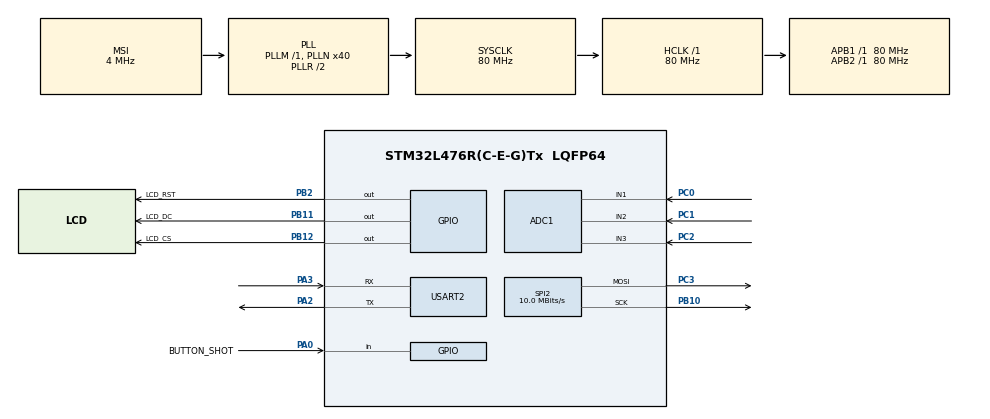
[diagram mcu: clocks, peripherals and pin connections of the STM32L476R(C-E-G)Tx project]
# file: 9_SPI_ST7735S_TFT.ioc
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ADC1.Channel-0\#ChannelRegularConversion=ADC_CHANNEL_1
ADC1.Channel-1\#ChannelRegularConversion=ADC_CHANNEL_2
ADC1.Channel-2\#ChannelRegularConversion=ADC_CHANNEL_3
ADC1.ContinuousConvMode=ENABLE
ADC1.DMAContinuousRequests=ENABLE
ADC1.NbrOfConversion=3
ADC1.NbrOfConversionFlag=1
ADC1.OffsetNumber-0\#ChannelRegularConversion=ADC_OFFSET_NONE
ADC1.OffsetNumber-1\#ChannelRegularConversion=ADC_OFFSET_NONE
ADC1.OffsetNumber-2\#ChannelRegularConversion=ADC_OFFSET_NONE
ADC1.Overrun=ADC_OVR_DATA_OVERWRITTEN
ADC1.OversamplingMode=ENABLE
ADC1.Rank-0\#ChannelRegularConversion=1
ADC1.Rank-1\#ChannelRegularConversion=2
ADC1.Rank-2\#ChannelRegularConversion=3
ADC1.Ratio=ADC_OVERSAMPLING_RATIO_16
ADC1.RightBitShift=ADC_RIGHTBITSHIFT_4
ADC1.SamplingTime-0\#ChannelRegularConversion=ADC_SAMPLETIME_640CYCLES_5
ADC1.SamplingTime-1\#ChannelRegularConversion=ADC_SAMPLETIME_640CYCLES_5
ADC1.SamplingTime-2\#ChannelRegularConversion=ADC_SAMPLETIME_640CYCLES_5
ADC1.master=1
Dma.ADC1.0.Direction=DMA_PERIPH_TO_MEMORY
Dma.ADC1.0.Instance=DMA1_Channel1
Dma.ADC1.0.MemDataAlignment=DMA_MDATAALIGN_HALFWORD
Dma.ADC1.0.MemInc=DMA_MINC_ENABLE
Dma.ADC1.0.Mode=DMA_CIRCULAR
Dma.ADC1.0.PeriphDataAlignment=DMA_PDATAALIGN_HALFWORD
Dma.ADC1.0.PeriphInc=DMA_PINC_DISABLE
Dma.ADC1.0.Priority=DMA_PRIORITY_LOW
Dma.Request0=ADC1
Mcu.Family=STM32L4
Mcu.Name=STM32L476R(C-E-G)Tx
Mcu.Package=LQFP64
NVIC.DMA1_Channel1_IRQn=true\:2\:0\:true\:false\:true\:false\:true\:true
NVIC.PriorityGroup=NVIC_PRIORITYGROUP_4
PA0.GPIO_Label=BUTTON_SHOT
PA0.GPIO_PuPd=GPIO_PULLUP
PA0.Signal=GPIO_Input
PA13\ (JTMS-SWDIO).Mode=Serial_Wire
PA13\ (JTMS-SWDIO).Signal=SYS_JTMS-SWDIO
PA14\ (JTCK-SWCLK).Mode=Serial_Wire
PA14\ (JTCK-SWCLK).Signal=SYS_JTCK-SWCLK
PA2.Mode=Asynchronous
PA2.Signal=USART2_TX
PA3.Mode=Asynchronous
PA3.Signal=USART2_RX
PB10.Mode=TX_Only_Simplex_Unidirect_Master
PB10.Signal=SPI2_SCK
PB11.GPIO_Label=LCD_DC
PB11.Signal=GPIO_Output
PB12.GPIO_Label=LCD_CS
PB12.PinState=GPIO_PIN_SET
PB12.Signal=GPIO_Output
PB2.GPIO_Label=LCD_RST
PB2.Signal=GPIO_Output
PC0.Signal=ADCx_IN1
PC1.Signal=ADCx_IN2
PC14-OSC32_IN\ (PC14).Mode=LSE-External-Oscillator
PC14-OSC32_IN\ (PC14).Signal=RCC_OSC32_IN
PC15-OSC32_OUT\ (PC15).Mode=LSE-External-Oscillator
PC15-OSC32_OUT\ (PC15).Signal=RCC_OSC32_OUT
PC2.Signal=ADCx_IN3
PC3.Mode=TX_Only_Simplex_Unidirect_Master
PC3.Signal=SPI2_MOSI
ProjectManager.HeapSize=0x200
ProjectManager.StackSize=0x2000
ProjectManager.TargetToolchain=STM32CubeIDE
RCC.ADCFreq_Value=32000000
RCC.AHBFreq_Value=80000000
RCC.APB1Freq_Value=80000000
RCC.APB1TimFreq_Value=80000000
RCC.APB2Freq_Value=80000000
RCC.APB2TimFreq_Value=80000000
RCC.CortexFreq_Value=80000000
RCC.HCLKFreq_Value=80000000
RCC.HSE_VALUE=8000000
RCC.HSI_VALUE=16000000
RCC.MSI_VALUE=4000000
RCC.PLLN=40
RCC.PLLSAI1N=16
RCC.SYSCLKFreq_VALUE=80000000
RCC.SYSCLKSource=RCC_SYSCLKSOURCE_PLLCLK
RCC.USBFreq_Value=32000000
RCC.VCOOutputFreq_Value=160000000
SH.ADCx_IN1.0=ADC1_IN1,IN1-Single-Ended
SH.ADCx_IN2.0=ADC1_IN2,IN2-Single-Ended
SH.ADCx_IN3.0=ADC1_IN3,IN3-Single-Ended
SPI2.BaudRatePrescaler=SPI_BAUDRATEPRESCALER_8
SPI2.CalculateBaudRate=10.0 MBits/s
SPI2.DataSize=SPI_DATASIZE_8BIT
SPI2.Direction=SPI_DIRECTION_2LINES
SPI2.Mode=SPI_MODE_MASTER
SPI2.NSSPMode=SPI_NSS_PULSE_DISABLE
SPI2.VirtualType=VM_MASTER
USART2.VirtualMode-Asynchronous=VM_ASYNC
board=custom

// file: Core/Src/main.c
/* USER CODE BEGIN Header */
/**
  ******************************************************************************
  * @file           : main.c
  * @brief          : Main program body
  ******************************************************************************
  * @attention
  *
  * Copyright (c) 2024 STMicroelectronics.
  * All rights reserved.
  *
  * This software is licensed under terms that can be found in the LICENSE file
  * in the root directory of this software component.
  * If no LICENSE file comes with this software, it is provided AS-IS.
  *
  ******************************************************************************
  */
/* USER CODE END Header */
#include "main.h"
#include "adc.h"
#include "dma.h"
#include "spi.h"
#include "usart.h"
#include "gpio.h"

/* USER CODE BEGIN Includes */

#include <stdio.h>
#include <stdbool.h>
#include "lcd.h"
#include "forbot_logo.c"
//Dodanie plikow naglowkowych do funkcji uzywanych przez biblioteke hagl:
#include "hagl.h"
#include "font6x9.h"
#include "font5x7.h"
#include "rgb565.h"

/* USER CODE END Includes */

/* USER CODE BEGIN PV */
const short pitch_left_edge = 30;
const short pitch_right_edge = 130;
const short pitch_up_edge = 50;
const short pitch_down_edge = 110;

const short left_goal_left_edge = 20;
const short left_goal_right_edge = 30;
const short left_goal_up_edge = 65;
const short left_goal_down_edge = 95;

const short right_goal_left_edge = 130;
const short right_goal_right_edge = 140;
const short right_goal_up_edge = 65;
const short right_goal_down_edge = 95;

int y1 = 10;
int y2 = 10;
int last_y1 = 0;
int last_y2 = 0;
int circle_position_x = 80;
int circle_position_y = 60;
const short circle_radius = 3;
int last_circle_position_x = 0;
int last_circle_position_y = 0;

int ball_position_x = 80;
int ball_position_y = 80;
const short shot_distance = 10;
const short bounce_distance = 10;
const short ball_radius = 2;

wchar_t result_left = 0;
wchar_t result_right = 0;
wchar_t result_left_start = 0 + '0';
wchar_t result_right_start = 0 + '0';
/* USER CODE END PV */

void SystemClock_Config(void);

/* USER CODE BEGIN 0 */
uint16_t test_image[64 * 64];

static void draw_pitch(short radius) {

	hagl_set_clip_window(left_goal_left_edge - 10, pitch_up_edge,
			right_goal_right_edge + 10, pitch_down_edge);
	hagl_clear_clip_window();
	hagl_draw_rectangle(pitch_left_edge, pitch_up_edge, pitch_right_edge,
			pitch_down_edge, WHITE);
	hagl_draw_rectangle(left_goal_left_edge, left_goal_up_edge, left_goal_right_edge,
			left_goal_down_edge, WHITE);
	hagl_draw_rectangle(right_goal_left_edge, right_goal_up_edge, right_goal_right_edge,
			right_goal_down_edge, WHITE);
	hagl_fill_circle(circle_position_x, circle_position_y, radius, GREEN);
	hagl_fill_circle(ball_position_x, ball_position_y, ball_radius, BLUE);
	lcd_copy();

}

static void shot_goal() {

	hagl_put_text(L"GOAL", 68, 75, YELLOW, font6x9);
	lcd_copy();
	HAL_Delay(1000);
	circle_position_x = 80;
	circle_position_y = 60;
	ball_position_x = 80;
	ball_position_y = 80;

}

static void match_result() {

	wchar_t result_left_char = result_left + '0';
	wchar_t result_right_char = result_right + '0';

	hagl_set_clip_window(30, 115, 130, 125);
	hagl_clear_clip_window();
	hagl_put_text(&result_left_char, 64, 111, YELLOW, font6x9);
	hagl_put_text(L":", 80, 111, YELLOW, font6x9);
	hagl_put_text(&result_right_char, 90, 111, YELLOW, font6x9);
	lcd_copy();
}

int __io_putchar(int ch)
{
  if (ch == '\n') {
    __io_putchar('\r');
  }

  HAL_UART_Transmit(&huart2, (uint8_t*)&ch, 1, HAL_MAX_DELAY);

  return 1;
}

//Funkcja wywolywna po zakonczeniu transmisji przez SPI:
void HAL_SPI_TxCpltCallback(SPI_HandleTypeDef *hspi) {

	if(hspi == &hspi2) {

		lcd_transfer_done();

	}
}
uint32_t last_fotoresistor_value = 0;
void draw_progress_bar(uint32_t fotoresistor_value) {

	int y;
	y = 0.09 * fotoresistor_value - 2.7;
	if(y >= 100)
		y = 99;
	if(y < 0)
		y = 0;
	while (lcd_is_busy()) {}
	hagl_set_clip_window(0, 0, 159, 127);
	//hagl_clear_clip_window();
	if(fotoresistor_value >= last_fotoresistor_value) {
		//hagl_set_clip_window(30, 50, 28, 40);
		hagl_fill_rectangle(31, 39, 29 + y, 31, YELLOW);
	}
	else {
		//hagl_set_clip_window(29 + y, 49, 128, 41);
		hagl_fill_rectangle(29 + y, 39, 128, 31, BLACK);
	}
	lcd_copy();
	last_fotoresistor_value = fotoresistor_value;

}

uint32_t last_potentiometer_x;
uint32_t last_potentiometer_y;
void control_circle(uint32_t potentiometer_x, uint32_t potentiometer_y) {

	//y1 = 0.037 * potentiometer_x + 4.188;
	y1 = 0.022 * potentiometer_x + 35;
	//y2 = 0.029 * potentiometer_y + 4.796;
	//y2 = 0.0098 * potentiometer_y + 65;
	y2 = 0.0123 * potentiometer_y + 55;

	while(lcd_is_busy()){}

	if(circle_position_y + circle_radius <= ball_position_y - ball_radius   ||
		circle_position_y - circle_radius >= ball_position_y + ball_radius  ||
		((circle_position_y + circle_radius > ball_position_y - ball_radius ||
		circle_position_y - circle_radius < ball_position_y + ball_radius   ||
		circle_position_y == ball_position_y)				                &&
		(circle_position_x + circle_radius < ball_position_x - ball_radius  ||
		circle_position_x - circle_radius >= ball_position_x + ball_radius))) {

		if(y1 > 78 && circle_position_x < 125) {

			circle_position_x ++;

		}
	}
	if(circle_position_y + circle_radius <= ball_position_y - ball_radius   ||
		circle_position_y - circle_radius >= ball_position_y + ball_radius  ||
		((circle_position_y + circle_radius > ball_position_y - ball_radius ||
		circle_position_y - circle_radius < ball_position_y + ball_radius   ||
		circle_position_y == ball_position_y)				                &&
		(circle_position_x - circle_radius > ball_position_x + ball_radius  ||
		circle_position_x + circle_radius <= ball_position_x - ball_radius))) {

		if(y1 < 78 && circle_position_x > 35) {

			circle_position_x --;

		}

	}
	if(circle_position_x + circle_radius <= ball_position_x - ball_radius   ||
		circle_position_x - circle_radius >= ball_position_x + ball_radius  ||
		((circle_position_x + circle_radius > ball_position_x - ball_radius ||
		circle_position_x - circle_radius < ball_position_x + ball_radius   ||
		circle_position_x == ball_position_x)				                &&
		(circle_position_y + circle_radius < ball_position_y - ball_radius  ||
		circle_position_y - circle_radius >= ball_position_y + ball_radius))) {

		if(y2 > 80 && circle_position_y < 105) {

			circle_position_y ++;

		}

	}
	if(circle_position_x + circle_radius <= ball_position_x - ball_radius   ||
		circle_position_x - circle_radius >= ball_position_x + ball_radius  ||
		((circle_position_x + circle_radius > ball_position_x - ball_radius ||
		circle_position_x - circle_radius < ball_position_x + ball_radius   ||
		circle_position_x == ball_position_x)				                &&
		(circle_position_y - circle_radius > ball_position_y + ball_radius  ||
		circle_position_y + circle_radius <= ball_position_y - ball_radius))) {

		if(y2 < 80 && circle_position_y > 55) {

			circle_position_y --;

		}

	}

	if(circle_position_x != last_circle_position_x ||
			circle_position_y != last_circle_position_y) {

		draw_pitch(circle_radius);
		last_circle_position_x = circle_position_x;
		last_circle_position_y = circle_position_y;

	}

}

void control_ball() {

		if(HAL_GPIO_ReadPin(BUTTON_SHOT_GPIO_Port, BUTTON_SHOT_Pin) == GPIO_PIN_SET) {

			bool ball_shot_right = false;
			bool ball_shot_left = false;
			bool ball_shot_up = false;
			bool ball_shot_down = false;

			if(circle_position_x + circle_radius == ball_position_x - ball_radius &&
			   circle_position_y + circle_radius >= ball_position_y - ball_radius &&
			   circle_position_y - circle_radius <= ball_position_y + ball_radius) {

				ball_shot_right = true;
				if(ball_position_x < pitch_right_edge) {

					ball_position_x += shot_distance;

				}
				else if(ball_position_x == pitch_right_edge && (ball_position_y < right_goal_up_edge ||
						ball_position_y > right_goal_down_edge)){

					ball_position_x -= bounce_distance;

				}
				else if(ball_position_x == pitch_right_edge && (ball_position_y >= right_goal_up_edge &&
						ball_position_y <= right_goal_down_edge)) {

					ball_position_x += shot_distance;
					//result_right += 1;

				}

			}
			if(circle_position_x - circle_radius == ball_position_x + ball_radius &&
			   circle_position_y + circle_radius >= ball_position_y - ball_radius &&
			   circle_position_y - circle_radius <= ball_position_y + ball_radius) {

				ball_shot_left = true;

				if(ball_position_x > pitch_left_edge) {

					ball_position_x -= shot_distance;

				}
				else if(ball_position_x == pitch_left_edge && (ball_position_y < right_goal_up_edge ||
						ball_position_y > right_goal_down_edge)){

					ball_position_x += bounce_distance;

				}
				else if(ball_position_x == pitch_left_edge && (ball_position_y >= right_goal_up_edge &&
						ball_position_y <= right_goal_down_edge)) {

					ball_position_x -= shot_distance;
					//result_left += 1;

				}

			}
			if(circle_position_y + circle_radius == ball_position_y - ball_radius &&
			   circle_position_x + circle_radius >= ball_position_x - ball_radius &&
			   circle_position_x - circle_radius <= ball_position_x + ball_radius) {

				ball_shot_up = true;

				if(ball_position_y < 110) {

					ball_position_y += shot_distance;

				}
				else {

					ball_position_y -= bounce_distance;

				}

			}
			if(circle_position_y - circle_radius == ball_position_y + ball_radius &&
			   circle_position_x + circle_radius >= ball_position_x - ball_radius &&
			   circle_position_x - circle_radius <= ball_position_x + ball_radius) {

				ball_shot_down = true;

				if(ball_position_y > 50) {

					ball_position_y -= shot_distance;

				}
				else {

					ball_position_y += bounce_distance;

				}

			}
			if(ball_shot_right || ball_shot_left || ball_shot_up || ball_shot_down) {

				draw_pitch(circle_radius + 1);

				if(ball_position_x == left_goal_left_edge ||
						ball_position_x == right_goal_right_edge) {

					shot_goal();
					//match_result();

				}

			}

		}
}

/* USER CODE END 0 */

int main(void)
{

  /* MCU Configuration--------------------------------------------------------*/

  /* Reset of all peripherals, Initializes the Flash interface and the Systick. */
  HAL_Init();

  /* Configure the system clock */
  SystemClock_Config();

  /* Initialize all configured peripherals */
  MX_GPIO_Init();
  MX_DMA_Init();
  MX_SPI2_Init();
  MX_ADC1_Init();
  MX_USART2_UART_Init();
  /* USER CODE BEGIN 2 */

  //Inicjalizacja wyswietlacza:
  lcd_init();

  //Rysowanie kolorowych prostokatow:
  /*
  lcd_fill_box(0, 0, 160, 16, RED);
  lcd_fill_box(0, 16, 160, 16, GREEN);
  lcd_fill_box(0, 32, 160, 16, BLUE);
  lcd_fill_box(0, 48, 160, 16, YELLOW);
  lcd_fill_box(0, 64, 160, 16, MAGENTA);
  lcd_fill_box(0, 80, 160, 16, CYAN);
  lcd_fill_box(0, 96, 160, 16, WHITE);
  lcd_fill_box(0, 112, 160, 16, BLACK);
  */

  //Rysowanie 2 skrzyżowanych ze soba linii:
  /*
  for (int i = 0; i < 128; i++) {
    lcd_put_pixel(i,  i, RED);
    lcd_put_pixel(127 - i,  i, RED);
  }
  */

  //Rysowanie obrazu:
  /*
  lcd_draw_image(35, 20, 100, 80, forbot_logo);
  */

  //Rysowanie obrazów - białych prostokatow:
  /*
  for (int i = 0; i < 64 * 64; i++)
    test_image[i] = __REV16(BLUE);

  lcd_draw_image(0, 0, 64, 64, test_image);
  lcd_draw_image(16, 16, 64, 64, test_image);
  lcd_draw_image(32, 32, 64, 64, test_image);
  lcd_draw_image(48, 48, 64, 64, test_image);
  lcd_draw_image(64, 64, 64, 64, test_image);
  */

  //Rysowanie kolorowego gradientu na wyswietlaczu:
  /*
  for (int y = 0; y < LCD_HEIGHT; y++) {
    for (int x = 0; x < LCD_WIDTH; x++) {
      lcd_put_pixel(x, y, __REV16(x / 10 + y * 16));
    }
  }
  */
  //Wykorzystanie biblioteki hagl do rysowania zaokraglonego prostokata oraz do pisania tekstu:
  for (int i = 0; i < 8; i++) {
    hagl_draw_rounded_rectangle(2+i, 2+i, 158-i, 126-i, 8-i, rgb565(0, 0, i*16));
  }

  hagl_put_text(L"Jasnosc pomieszczenia", 16, 15, YELLOW, font6x9);

  //Zolty autobus
  /*
  hagl_fill_circle(30, 100, 5, GREEN);
  hagl_fill_circle(90, 100, 5, GREEN);
  hagl_fill_rounded_rectangle(10, 95, 110, 55, 4, YELLOW);
  hagl_fill_rounded_rectangle(110, 95, 130, 75, 4, YELLOW);
  hagl_fill_rounded_rectangle(90, 75, 110, 55, 4, WHITE);
  hagl_draw_rectangle(60, 90, 80, 60, BLACK);
  hagl_fill_rectangle(65, 85, 75, 65, WHITE);
  hagl_fill_rectangle(40, 75, 50, 65, WHITE);
  hagl_fill_rectangle(20, 75, 30, 65, WHITE);
  */

  //Obramowanie progress_bar:
  hagl_draw_rectangle(30, 40, 130, 30, YELLOW);

  //Obramowanie boiska:
  hagl_draw_rectangle(pitch_left_edge, pitch_up_edge, pitch_right_edge, pitch_down_edge, WHITE);

  //Lewa bramka:
  hagl_draw_rectangle(left_goal_left_edge, left_goal_up_edge, left_goal_right_edge,
		  left_goal_down_edge, WHITE);

  //Prawa bramka:
  hagl_draw_rectangle(right_goal_left_edge, right_goal_up_edge, right_goal_right_edge,
		  right_goal_down_edge, WHITE);

  //hagl_put_text(&result_left_start, 64, 111, YELLOW, font6x9);
  //hagl_put_text(L":", 80, 111, YELLOW, font6x9);
  //hagl_put_text(&result_right_start, 90, 111, YELLOW, font6x9);

  //Przesylanie danych z bufora na wyswietlacz:
  lcd_copy();

  volatile static uint16_t value[3];
  HAL_ADCEx_Calibration_Start(&hadc1, ADC_SINGLE_ENDED);
  HAL_ADC_Start_DMA(&hadc1, (uint32_t*)value, 3);
  //HAL_ADC_Start_DMA(&hadc1, (uint32_t*)&value, 1);

  /* USER CODE END 2 */

  /* Infinite loop */
  /* USER CODE BEGIN WHILE */
  while (1)
  {

	  printf("Photoresistor = %u\n", value[0]);
	  draw_progress_bar(value[0]);

	  printf("Potentiometer 1: %u\n", y1);
	  printf("Potentiometer 2: %u\n", y2);
	  control_circle(value[1], value[2]);
	  control_ball();

	  //HAL_Delay(250);

    /* USER CODE END WHILE */

  }
}

void SystemClock_Config(void)
{
  RCC_OscInitTypeDef RCC_OscInitStruct = {0};
  RCC_ClkInitTypeDef RCC_ClkInitStruct = {0};

  /** Configure the main internal regulator output voltage
  */
  if (HAL_PWREx_ControlVoltageScaling(PWR_REGULATOR_VOLTAGE_SCALE1) != HAL_OK)
  {
    Error_Handler();
  }

  /** Configure LSE Drive Capability
  */
  HAL_PWR_EnableBkUpAccess();
  __HAL_RCC_LSEDRIVE_CONFIG(RCC_LSEDRIVE_LOW);

  /** Initializes the RCC Oscillators according to the specified parameters
  * in the RCC_OscInitTypeDef structure.
  */
  RCC_OscInitStruct.OscillatorType = RCC_OSCILLATORTYPE_LSE|RCC_OSCILLATORTYPE_MSI;
  RCC_OscInitStruct.LSEState = RCC_LSE_ON;
  RCC_OscInitStruct.MSIState = RCC_MSI_ON;
  RCC_OscInitStruct.MSICalibrationValue = 0;
  RCC_OscInitStruct.MSIClockRange = RCC_MSIRANGE_6;
  RCC_OscInitStruct.PLL.PLLState = RCC_PLL_ON;
  RCC_OscInitStruct.PLL.PLLSource = RCC_PLLSOURCE_MSI;
  RCC_OscInitStruct.PLL.PLLM = 1;
  RCC_OscInitStruct.PLL.PLLN = 40;
  RCC_OscInitStruct.PLL.PLLP = RCC_PLLP_DIV7;
  RCC_OscInitStruct.PLL.PLLQ = RCC_PLLQ_DIV2;
  RCC_OscInitStruct.PLL.PLLR = RCC_PLLR_DIV2;
  if (HAL_RCC_OscConfig(&RCC_OscInitStruct) != HAL_OK)
  {
    Error_Handler();
  }

  /** Initializes the CPU, AHB and APB buses clocks
  */
  RCC_ClkInitStruct.ClockType = RCC_CLOCKTYPE_HCLK|RCC_CLOCKTYPE_SYSCLK
                              |RCC_CLOCKTYPE_PCLK1|RCC_CLOCKTYPE_PCLK2;
  RCC_ClkInitStruct.SYSCLKSource = RCC_SYSCLKSOURCE_PLLCLK;
  RCC_ClkInitStruct.AHBCLKDivider = RCC_SYSCLK_DIV1;
  RCC_ClkInitStruct.APB1CLKDivider = RCC_HCLK_DIV1;
  RCC_ClkInitStruct.APB2CLKDivider = RCC_HCLK_DIV1;

  if (HAL_RCC_ClockConfig(&RCC_ClkInitStruct, FLASH_LATENCY_4) != HAL_OK)
  {
    Error_Handler();
  }

  /** Enable MSI Auto calibration
  */
  HAL_RCCEx_EnableMSIPLLMode();
}

void Error_Handler(void)
{
  __disable_irq();
  while (1)
  {
  }
}
